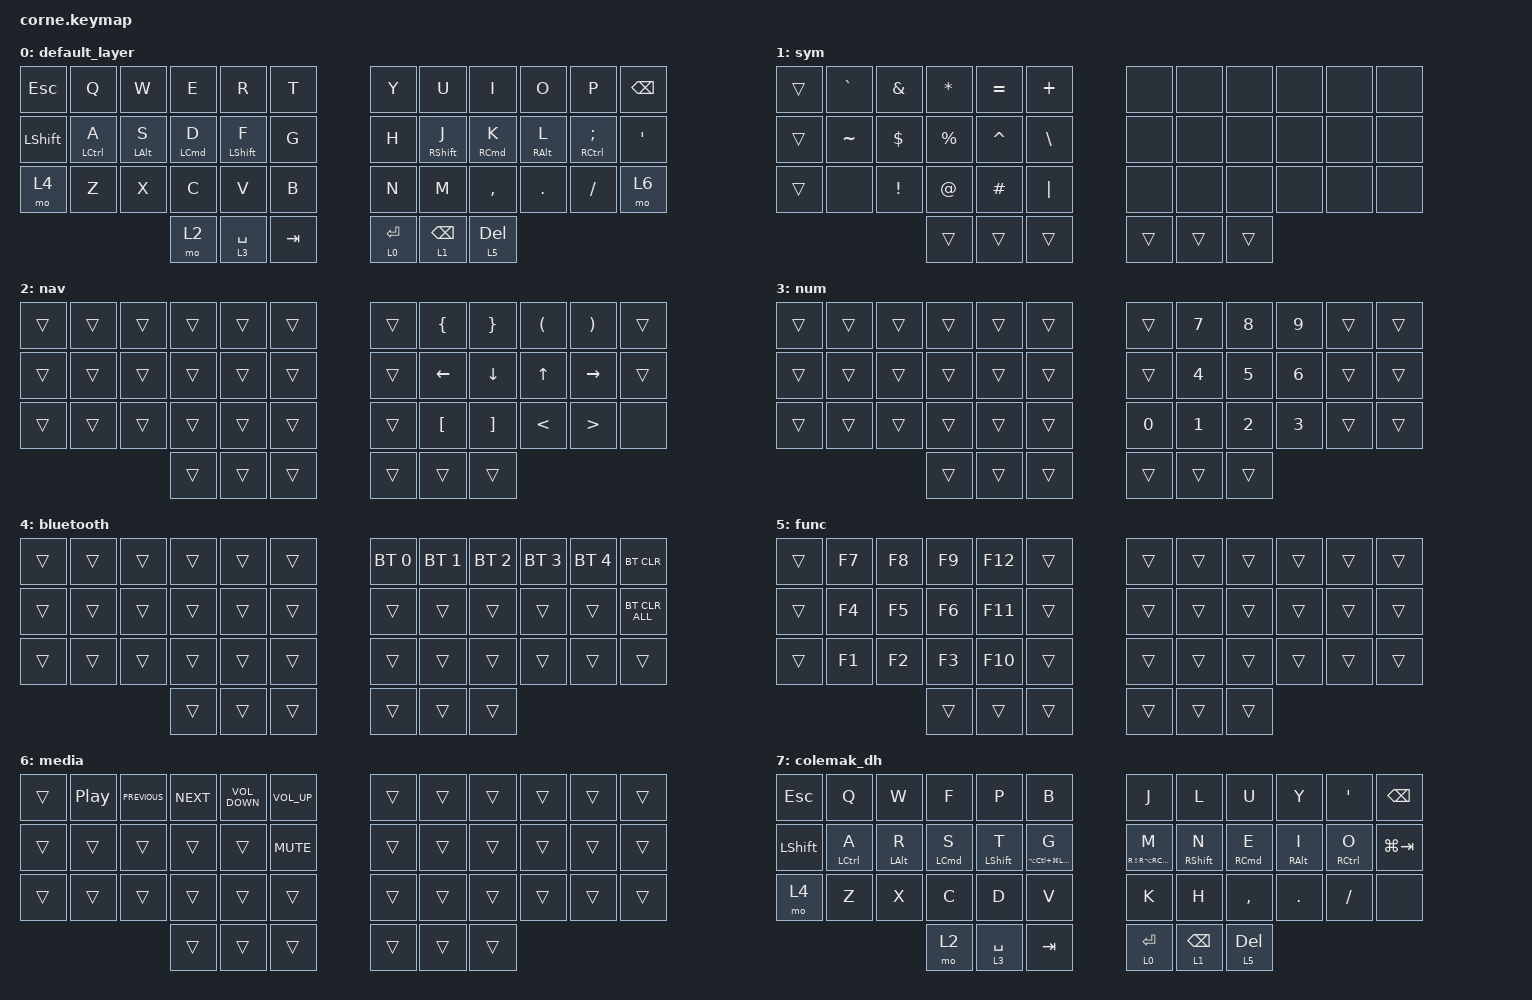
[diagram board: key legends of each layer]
/*
 * Copyright (c) 2020 The ZMK Contributors
 *
 * SPDX-License-Identifier: MIT
 */

#include <behaviors.dtsi>
#include <dt-bindings/zmk/bt.h>
#include <dt-bindings/zmk/keys.h>

/ {
    behaviors {
        hml: homerow_mods_left {
            compatible = "zmk,behavior-hold-tap";
            label = "HOMEROW_MODS_LEFT";
            bindings = <&kp>, <&kp>;

            #binding-cells = <2>;
            tapping-term-ms = <200>;
            flavor = "tap-preferred";
        };

        hmr: homerow_mods_right {
            compatible = "zmk,behavior-hold-tap";
            label = "HOMEROW_MODS_RIGHT_HAND";
            bindings = <&kp>, <&kp>;

            #binding-cells = <2>;
            tapping-term-ms = <200>;
            flavor = "tap-preferred";
        };

        hold_layer: hold_layer {
            compatible = "zmk,behavior-hold-tap";
            label = "HOLD_LAYER";
            #binding-cells = <2>;
            bindings = <&mo>, <&kp>;

            tapping-term-ms = <300>;
            flavor = "tap-preferred";
        };
    };

    combos {
        compatible = "zmk,combos";

        esc {
            bindings = <&kp ESCAPE>;
            key-positions = <13 22>;
        };

        minus {
            bindings = <&kp MINUS>;
            key-positions = <4 7>;
        };

        underscore {
            bindings = <&kp UNDERSCORE>;
            key-positions = <28 31>;
        };
    };

    keymap {
        compatible = "zmk,keymap";

        default_layer {
            // -----------------------------------------------------------------------------------------
            // |  TAB |  Q  |  W  |  E  |  R  |  T  |   |  Y  |  U   |  I  |  O  |  P  | BKSP |
            // | CTRL |  A  |  S  |  D  |  F  |  G  |   |  H  |  J   |  K  |  L  |  ;  |  '   |
            // | SHFT |  Z  |  X  |  C  |  V  |  B  |   |  N  |  M   |  ,  |  .  |  /  | ESC  |
            //                    | GUI | LWR | SPC |   | ENT | RSE  | ALT |

            bindings = <
&kp ESCAPE      &kp Q         &kp W            &kp E                &kp R                &kp T      &kp Y                &kp U                    &kp I                 &kp O             &kp P                 &kp BSPC
&kp LEFT_SHIFT  &hml LCTRL A  &hml LEFT_ALT S  &hml LEFT_COMMAND D  &hml LEFT_SHIFT F    &kp G      &kp H                &hmr RIGHT_SHIFT J       &hmr RIGHT_COMMAND K  &hmr RIGHT_ALT L  &hmr RCTRL SEMICOLON  &kp SQT
&mo 4           &kp Z         &kp X            &kp C                &kp V                &kp B      &kp N                &kp M                    &kp COMMA             &kp DOT           &kp FSLH              &mo 6
                                               &mo 2                &hold_layer 3 SPACE  &kp TAB    &hold_layer 0 ENTER  &hold_layer 1 BACKSPACE  &hold_layer 5 DELETE
            >;
        };

        sym {
            // -----------------------------------------------------------------------------------------
            // |  TAB |  !  |  @  |  #  |  $  |  %  |   |  ^  |  &  |  *  |  (  |  )  | BKSP |
            // | CTRL |     |     |     |     |     |   |  -  |  =  |  [  |  ]  |  \  |  `   |
            // | SHFT |     |     |     |     |     |   |  _  |  +  |  {  |  }  | "|" |  ~   |
            //                    | GUI |     | SPC |   | ENT |     | ALT |

            bindings = <
&trans  &kp GRAVE  &kp AMPERSAND    &kp ASTERISK  &kp EQUAL  &kp PLUS    &none   &none   &none   &none  &none  &none
&trans  &kp TILDE  &kp DOLLAR       &kp PERCENT   &kp CARET  &kp BSLH    &none   &none   &none   &none  &none  &none
&trans  &none      &kp EXCLAMATION  &kp AT_SIGN   &kp HASH   &kp PIPE    &none   &none   &none   &none  &none  &none
                                    &trans        &trans     &trans      &trans  &trans  &trans
            >;
        };

        nav {
            bindings = <
&trans  &trans  &trans  &trans  &trans  &trans    &trans  &kp LEFT_BRACE    &kp RIGHT_BRACE    &kp LEFT_PARENTHESIS  &kp RIGHT_PARENTHESIS  &trans
&trans  &trans  &trans  &trans  &trans  &trans    &trans  &kp LEFT          &kp DOWN           &kp UP                &kp RIGHT              &trans
&trans  &trans  &trans  &trans  &trans  &trans    &trans  &kp LEFT_BRACKET  &kp RIGHT_BRACKET  &kp LESS_THAN         &kp GREATER_THAN       &none
                        &trans  &trans  &trans    &trans  &trans            &trans
            >;
        };

        num {
            bindings = <
&trans  &trans  &trans  &trans  &trans  &trans    &trans        &kp NUMBER_7  &kp NUMBER_8  &kp NUMBER_9  &trans  &trans
&trans  &trans  &trans  &trans  &trans  &trans    &trans        &kp NUMBER_4  &kp NUMBER_5  &kp NUMBER_6  &trans  &trans
&trans  &trans  &trans  &trans  &trans  &trans    &kp NUMBER_0  &kp NUMBER_1  &kp NUMBER_2  &kp NUMBER_3  &trans  &trans
                        &trans  &trans  &trans    &trans        &trans        &trans
            >;
        };

        bluetooth {
            bindings = <
&trans  &trans  &trans  &trans  &trans  &trans    &bt BT_SEL 0  &bt BT_SEL 1  &bt BT_SEL 2  &bt BT_SEL 3  &bt BT_SEL 4  &bt BT_CLR
&trans  &trans  &trans  &trans  &trans  &trans    &trans        &trans        &trans        &trans        &trans        &bt BT_CLR_ALL
&trans  &trans  &trans  &trans  &trans  &trans    &trans        &trans        &trans        &trans        &trans        &trans
                        &trans  &trans  &trans    &trans        &trans        &trans
            >;
        };

        func {
            bindings = <
&trans  &kp F7  &kp F8  &kp F9  &kp F12  &trans    &trans  &trans  &trans  &trans  &trans  &trans
&trans  &kp F4  &kp F5  &kp F6  &kp F11  &trans    &trans  &trans  &trans  &trans  &trans  &trans
&trans  &kp F1  &kp F2  &kp F3  &kp F10  &trans    &trans  &trans  &trans  &trans  &trans  &trans
                        &trans  &trans   &trans    &trans  &trans  &trans
            >;
        };

        media {
            bindings = <
&trans  &kp C_PLAY_PAUSE  &kp C_PREVIOUS  &kp C_NEXT  &kp C_VOLUME_DOWN  &kp C_VOLUME_UP    &trans  &trans  &trans  &trans  &trans  &trans
&trans  &trans            &trans          &trans      &trans             &kp K_MUTE         &trans  &trans  &trans  &trans  &trans  &trans
&trans  &trans            &trans          &trans      &trans             &trans             &trans  &trans  &trans  &trans  &trans  &trans
                                          &trans      &trans             &trans             &trans  &trans  &trans
            >;
        };

        colemak_dh {
            bindings = <
&kp ESCAPE      &kp Q         &kp W            &kp F                &kp P                &kp B                            &kp J                          &kp L                    &kp U                 &kp Y             &kp SQT       &kp BSPC
&kp LEFT_SHIFT  &hml LCTRL A  &hml LEFT_ALT R  &hml LEFT_COMMAND S  &hml LEFT_SHIFT T    &hml LA(LC(LG(LEFT_SHIFT))) G    &mt RS(RA(RC(RIGHT_SHIFT))) M  &hmr RIGHT_SHIFT N       &hmr RIGHT_COMMAND E  &hmr RIGHT_ALT I  &hmr RCTRL O  &kp LG(TAB)
&mo 4           &kp Z         &kp X            &kp C                &kp D                &kp V                            &kp K                          &kp H                    &kp COMMA             &kp DOT           &kp FSLH      &none
                                               &mo 2                &hold_layer 3 SPACE  &kp TAB                          &hold_layer 0 ENTER            &hold_layer 1 BACKSPACE  &hold_layer 5 DELETE
            >;
        };
    };
};
